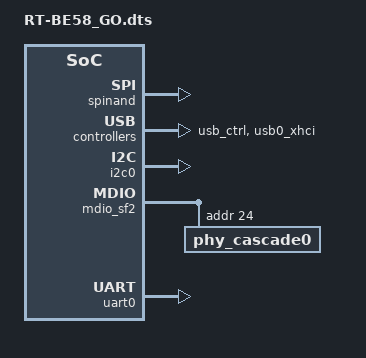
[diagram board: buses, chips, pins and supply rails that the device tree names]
#include "6764.dtsi"

/ {
	memory_controller {
		memcfg = <(BP_DDR_TYPE_DDR4       | \
			BP_DDR_SPEED_1200_17_17_17    | \
			BP_DDR_TOTAL_SIZE_1024MB      | \
			BP_DDR_DEVICE_WIDTH_16        | \
			BP_DDR_TOTAL_WIDTH_16BIT      | \
			BP_DDR_TEMP_EXTENDED_ASR      | \
			BP_DDR_6764_DEFAULT           | \
			BP_DDR_CONFIG_DEBUG)>;
	};
/*
	buttons {
		compatible = "brcm,buttons";
		reset_button {
			ext_irq = <&bca_extintr 39 GPIO_ACTIVE_LOW (BCA_EXTINTR_TYPE_LOW_LEVEL | BCA_EXTINTR_TYPE_SENSE_EDGE)>;
			press {
				print = "Button Press -- Hold for 5s to do restore to default";
			};
			hold {
				rst_to_dflt = <5>;
			};
			release {
				reset = <0>;
			};
		};
	};
*/
};

&spinand {
	status = "okay";
};

&usb_ctrl {
    pinctrl-names="default";
    pinctrl-0 = <&usb0_pwr_pins>;
    status = "okay";
    xhci-enable;
    pwron-bias-pull-up;
};

&usb0_xhci {
    status = "okay";
};

&i2c0 {
    pinctrl-names = "default";
    pinctrl-0 = <&a_i2c_sda_pin_37 &a_i2c_scl_pin_36 >;
    status = "okay";
};

&mdio_sf2 {
	/* Port PHY mapping:
		port_imp -8#0- port_gphy <----> phy_gphy
                  ##5- port_sgmii0 <--> phy_serdes0 <--> BCM50901E
	 */
	phy_gphy {
		status = "okay";
	};

	phy_cascade0 {
		shared-ref-clk-mhz = <80>;  /* R168 have to install */
		enet-phy-lane-swap;
		phy-xfi-tx-polarity-inverse;
		reg = <24>;                 /* R157 have to install */
		status = "okay";
	};
	phy_serdes0 {
		phy-handle = <&phy_cascade0>;
		status = "okay";
	};
};

&switch0 {
	ports {
		port_gphy {
			phy-handle = <&phy_gphy>;
			status = "okay";
		};

		port_sgmii0 {
			phy-handle = <&phy_serdes0>;
			status = "okay";
		};
	};
};

&legacy_leds {
};

&led_ctrl {
/*
    led0: led_gpio_3 {
        compatible = "brcm,gpio-led";
        software_led;
        pin = <3>;
        active_high;
        init_high;
        label = "POWER_LED";
        status = "okay";
    };
*/
    led0: sw_parallel_led_3 {
        active_high;
        pinctrl-0 = <&a_per_led_03_pin_3>;
        brightness = <255>;
        flash_rate = <0>;
        label = "POWER_LED";
        status = "okay";
    };
    led1: sw_parallel_led_22 {
        active_low;
        pinctrl-0 = <&a_per_led_22_pin_22>;
        brightness = <255>;
        flash_rate = <0>;
        label = "WAN_LED";
        status = "okay";
    };
    led2: sw_parallel_led_23 {
        active_low;
        pinctrl-0 = <&a_per_led_23_pin_23>;
        brightness = <255>;
        flash_rate = <0>;
        label = "2G_5G_WIFI_LED";
        status = "okay";
    };
    led3: sw_parallel_led_30 {
        active_low;
        pinctrl-0 = <&a_per_led_30_pin_30>;
        brightness = <255>;
        flash_rate = <0>;
        label = "LAN_LED";
        status = "okay";
    };
};

&uart0 {
	pinctrl-names = "default";
	pinctrl-0 = <&uart0_sdin_pin_64 &uart0_sdout_pin_65>;
	status = "okay";
};
